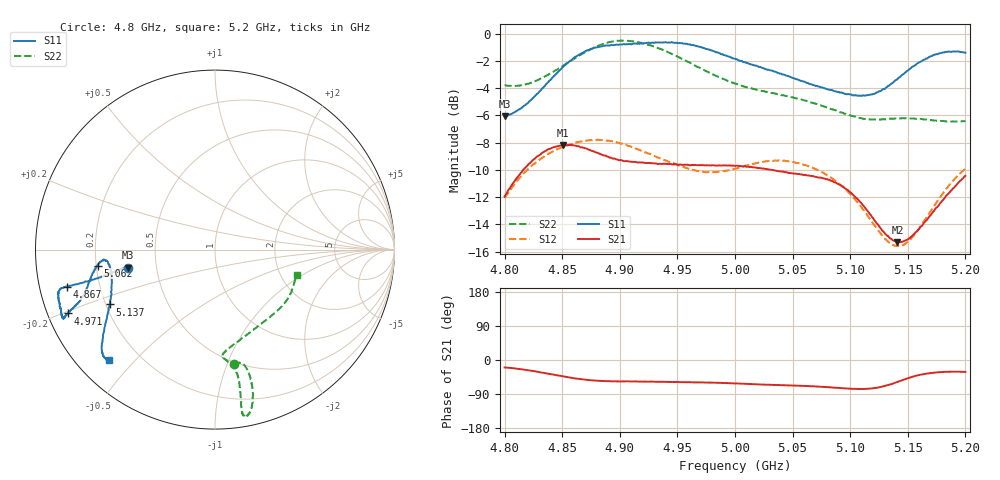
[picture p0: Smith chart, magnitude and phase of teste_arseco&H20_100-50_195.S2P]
! Network Analyzer HP8722D
! Hewlett-Packard
! Data name: Linha & Wilkinson
! Saver's name: Rodrigo Anjos
! Comments: Teste da utilização de aquisição
! continua pelo VNA HP8722D
! Time and date: 6/5/2025 14:11
!  Frequency  S11  S21  S12  S22
# HZ  S  MA R 50
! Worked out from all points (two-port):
!   401 points, 4.8 GHz to 5.2 GHz, reference 50 ohm
!   highest |S21| = -8.17 dB at 4.851 GHz (marker M1); lowest = -15.3 dB at 5.141 GHz (marker M2)
!   |S21| within 3 dB of the highest: 4.806 GHz to 5.092 GHz (286.3 MHz wide, 5.78 % of centre); 5.191611 GHz to end of sweep
!   lowest |S11| = -6.1 dB at 4.8 GHz (marker M3), VSWR 2.98, Z = 16.9 - j4.55 ohm
!   |S11| at or under -10 dB: nowhere
!   |S22| runs from -6.5 to -0.5 dB; largest |S21 - S12| = 0.62
!   S11 on the Smith chart (normalised r, x): 4.8 GHz: 0.34, -0.09; 4.867 GHz: 0.08, -0.12; 4.971 GHz: 0.06, -0.21; 5.062 GHz: 0.21, -0.07; 5.137 GHz: 0.22, -0.23; 5.2 GHz: 0.09, -0.42
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4.8e9  0.4973 -168.3  0.2526 -19.8  0.249 -141.0  0.6483 -80.4
4.823e9  0.5714 -167.6  0.3385 -28.2  0.3255 -143.9  0.6608 -75.9
4.851e9  0.7569 -166.0  0.3906 -43.5  0.3846 -149.4  0.7646 -74.6
4.867e9  0.8492 -166.0  0.3831 -50.9  0.4024 -152.2  0.8424 -75.5
4.879e9  0.8904 -165.7  0.367 -54.4  0.4077 -154.2  0.8944 -76.7
4.899e9  0.911 -162.9  0.3433 -56.6  0.398 -156.8  0.9423 -79.1
4.915e9  0.919 -159.6  0.3371 -56.9  0.3776 -157.3  0.9337 -80.4
4.934e9  0.9287 -156.5  0.3328 -57.6  0.3506 -155.7  0.8835 -80.5
4.971e9  0.8929 -156.5  0.3289 -59.4  0.3119 -146.6  0.7448 -79.6
5e9  0.8098 -159.0  0.327 -61.9  0.3192 -137.3  0.6564 -81.2
5.039e9  0.7133 -166.7  0.3123 -66.3  0.3416 -134.5  0.5978 -85.8
5.062e9  0.6607 -172.2  0.3021 -68.6  0.3283 -136.4  0.5673 -83.8
5.067e9  0.6509 -173.1  0.3003 -69.3  0.3223 -136.9  0.5582 -82.6
5.086e9  0.616 -174.7  0.2851 -72.9  0.2908 -138.5  0.5253 -75.3
5.101e9  0.5985 -172.1  0.2598 -75.9  0.2548 -138.9  0.4996 -66.5
5.116e9  0.5957 -165.5  0.2209 -75.9  0.2121 -135.6  0.4851 -55.7
5.134e9  0.6462 -154.4  0.1781 -65.1  0.1706 -120.7  0.4869 -43.3
5.137e9  0.6612 -152.5  0.1741 -62.3  0.1675 -116.8  0.4877 -41.5
5.141e9  0.6812 -150.3  0.1713 -57.8  0.1658 -111.5  0.4879 -39.0
5.154e9  0.7575 -144.5  0.1813 -44.5  0.1791 -95.0  0.4884 -32.3
5.172e9  0.8348 -139.1  0.2217 -33.5  0.23 -81.2  0.4809 -24.6
5.2e9  0.8516 -133.8  0.3008 -31.4  0.3194 -77.1  0.4779 -17.5
